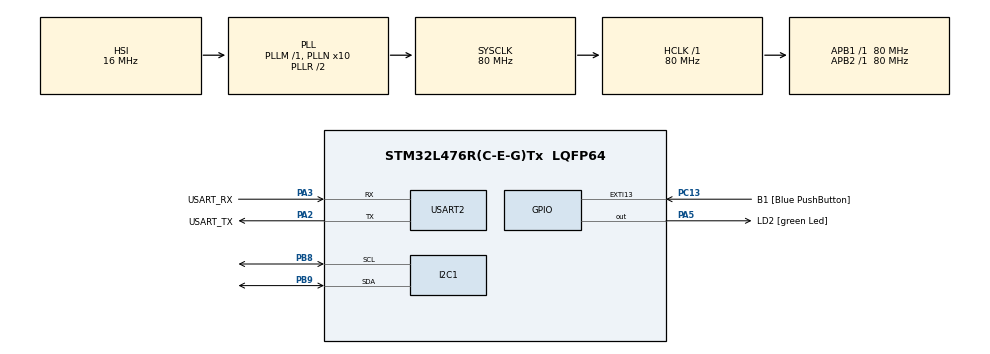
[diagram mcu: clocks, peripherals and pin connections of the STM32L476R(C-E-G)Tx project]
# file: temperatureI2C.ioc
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I2C1.Timing=0x10D19CE4
Mcu.Family=STM32L4
Mcu.Name=STM32L476R(C-E-G)Tx
Mcu.Package=LQFP64
NVIC.PriorityGroup=NVIC_PRIORITYGROUP_4
PA13\ (JTMS-SWDIO).GPIO_Label=TMS
PA13\ (JTMS-SWDIO).Signal=SYS_JTMS-SWDIO
PA14\ (JTCK-SWCLK).GPIO_Label=TCK
PA14\ (JTCK-SWCLK).Signal=SYS_JTCK-SWCLK
PA2.GPIO_Label=USART_TX
PA2.GPIO_Mode=GPIO_MODE_AF_PP
PA2.GPIO_PuPd=GPIO_NOPULL
PA2.GPIO_Speed=GPIO_SPEED_FREQ_VERY_HIGH
PA2.Mode=Asynchronous
PA2.Signal=USART2_TX
PA3.GPIO_Label=USART_RX
PA3.GPIO_Mode=GPIO_MODE_AF_PP
PA3.GPIO_PuPd=GPIO_NOPULL
PA3.GPIO_Speed=GPIO_SPEED_FREQ_VERY_HIGH
PA3.Mode=Asynchronous
PA3.Signal=USART2_RX
PA5.GPIO_Label=LD2 [green Led]
PA5.GPIO_ModeDefaultOutputPP=GPIO_MODE_OUTPUT_PP
PA5.GPIO_PuPd=GPIO_NOPULL
PA5.GPIO_Speed=GPIO_SPEED_FREQ_LOW
PA5.Signal=GPIO_Output
PB3\ (JTDO-TRACESWO).GPIO_Label=SWO
PB3\ (JTDO-TRACESWO).Signal=SYS_JTDO-SWO
PB8.Mode=I2C
PB8.Signal=I2C1_SCL
PB9.Mode=I2C
PB9.Signal=I2C1_SDA
PC13.GPIO_Label=B1 [Blue PushButton]
PC13.GPIO_ModeDefaultEXTI=GPIO_MODE_IT_FALLING
PC13.GPIO_PuPd=GPIO_NOPULL
PC13.Signal=GPXTI13
PC14-OSC32_IN\ (PC14).Signal=RCC_OSC32_IN
PC15-OSC32_OUT\ (PC15).Signal=RCC_OSC32_OUT
PH0-OSC_IN\ (PH0).Signal=RCC_OSC_IN
PH1-OSC_OUT\ (PH1).Signal=RCC_OSC_OUT
ProjectManager.HeapSize=0x200
ProjectManager.StackSize=0x400
ProjectManager.TargetToolchain=STM32CubeIDE
RCC.ADCFreq_Value=64000000
RCC.AHBFreq_Value=80000000
RCC.APB1Freq_Value=80000000
RCC.APB1TimFreq_Value=80000000
RCC.APB2Freq_Value=80000000
RCC.APB2TimFreq_Value=80000000
RCC.CortexFreq_Value=80000000
RCC.HCLKFreq_Value=80000000
RCC.HSE_VALUE=8000000
RCC.HSI_VALUE=16000000
RCC.LSE_VALUE=32768
RCC.MSI_VALUE=4000000
RCC.PLLN=10
RCC.PLLSourceVirtual=RCC_PLLSOURCE_HSI
RCC.PREFETCH_ENABLE=1
RCC.SYSCLKFreq_VALUE=80000000
RCC.SYSCLKSource=RCC_SYSCLKSOURCE_PLLCLK
RCC.USBFreq_Value=64000000
RCC.VCOOutputFreq_Value=160000000
USART2.VirtualMode-Asynchronous=VM_ASYNC
board=NUCLEO-L476RG

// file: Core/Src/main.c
/* USER CODE BEGIN Header */
/**
  ******************************************************************************
  * @file           : main.c
  * @brief          : Main program body
  ******************************************************************************
  * @attention
  *
  * Copyright (c) 2026 STMicroelectronics.
  * All rights reserved.
  *
  * This software is licensed under terms that can be found in the LICENSE file
  * in the root directory of this software component.
  * If no LICENSE file comes with this software, it is provided AS-IS.
  *
  ******************************************************************************
  */
/* USER CODE END Header */
#include "main.h"

/* USER CODE BEGIN Includes */
#include <string.h>
#include <stdio.h>
/* USER CODE END Includes */

I2C_HandleTypeDef hi2c1;

UART_HandleTypeDef huart2;

/* USER CODE BEGIN PV */
static const uint8_t TMP102_ADDR = 0x48 << 1; // Use 8-bit address
static const uint8_t REG_TEMP = 0x00;
/* USER CODE END PV */

void SystemClock_Config(void);
static void MX_GPIO_Init(void);
static void MX_I2C1_Init(void);
static void MX_USART2_UART_Init(void);

int main(void)
{

  /* USER CODE BEGIN 1 */
	HAL_StatusTypeDef ret; 	// to hold communication errors if such occur
	uint8_t buf[12]; 			// to hold the character string for UART communication or the bytes from the TMP102 chip
	int16_t val; 				// to hold raw value from the TMP102 chip
	float temp_c;

  /* USER CODE END 1 */

  /* MCU Configuration--------------------------------------------------------*/

  /* Reset of all peripherals, Initializes the Flash interface and the Systick. */
  HAL_Init();

  /* Configure the system clock */
  SystemClock_Config();

  /* Initialize all configured peripherals */
  MX_GPIO_Init();
  MX_I2C1_Init();
  MX_USART2_UART_Init();

  /* Infinite loop */
  /* USER CODE BEGIN WHILE */
  while (1)
  {
	  // Tell TMP102 that we want to read from the temperature register
	  	    buf[0] = REG_TEMP;
	  	    ret = HAL_I2C_Master_Transmit(&hi2c1, TMP102_ADDR, buf, 1, 200);
	  	    if ( ret != HAL_OK ) {
	  	      strcpy((char*)buf, "Error Tx\r\n");
	  	    } else {

	  	      // Read 2 bytes from the temperature register
	  	      ret = HAL_I2C_Master_Receive(&hi2c1, TMP102_ADDR, buf, 2, 200);
	  	      if ( ret != HAL_OK ) {
	  	        strcpy((char*)buf, "Error Rx\r\n");
	  	      } else {

	  	        //Combine the bytes
	  	        val = ((int16_t)buf[0] << 4) | (buf[1] >> 4);

	  	        // Convert to 2's complement, since temperature can be negative
	  	        if ( val > 0x7FF ) {
	  	          val |= 0xF000;
	  	        }

	  	        // Convert to float temperature value (Celsius)
	  	        temp_c = val * 0.0625;

	  	        // Convert temperature to decimal format
	  	        temp_c *= 100;
	  	        sprintf((char*)buf,
	  	              "%u.%u C\r\n",
	  	              ((unsigned int)temp_c / 100),
	  	              ((unsigned int)temp_c % 100));
	  	      }
	  	    }

	  	    // Send out buffer (temperature or error message)
	  	    HAL_UART_Transmit(&huart2, buf, strlen((char*)buf), HAL_MAX_DELAY);

	  	    // Wait
	  	    HAL_Delay(500);
    /* USER CODE END WHILE */

  }
}

void SystemClock_Config(void)
{
  RCC_OscInitTypeDef RCC_OscInitStruct = {0};
  RCC_ClkInitTypeDef RCC_ClkInitStruct = {0};

  /** Configure the main internal regulator output voltage
  */
  if (HAL_PWREx_ControlVoltageScaling(PWR_REGULATOR_VOLTAGE_SCALE1) != HAL_OK)
  {
    Error_Handler();
  }

  /** Initializes the RCC Oscillators according to the specified parameters
  * in the RCC_OscInitTypeDef structure.
  */
  RCC_OscInitStruct.OscillatorType = RCC_OSCILLATORTYPE_HSI;
  RCC_OscInitStruct.HSIState = RCC_HSI_ON;
  RCC_OscInitStruct.HSICalibrationValue = RCC_HSICALIBRATION_DEFAULT;
  RCC_OscInitStruct.PLL.PLLState = RCC_PLL_ON;
  RCC_OscInitStruct.PLL.PLLSource = RCC_PLLSOURCE_HSI;
  RCC_OscInitStruct.PLL.PLLM = 1;
  RCC_OscInitStruct.PLL.PLLN = 10;
  RCC_OscInitStruct.PLL.PLLP = RCC_PLLP_DIV7;
  RCC_OscInitStruct.PLL.PLLQ = RCC_PLLQ_DIV2;
  RCC_OscInitStruct.PLL.PLLR = RCC_PLLR_DIV2;
  if (HAL_RCC_OscConfig(&RCC_OscInitStruct) != HAL_OK)
  {
    Error_Handler();
  }

  /** Initializes the CPU, AHB and APB buses clocks
  */
  RCC_ClkInitStruct.ClockType = RCC_CLOCKTYPE_HCLK|RCC_CLOCKTYPE_SYSCLK
                              |RCC_CLOCKTYPE_PCLK1|RCC_CLOCKTYPE_PCLK2;
  RCC_ClkInitStruct.SYSCLKSource = RCC_SYSCLKSOURCE_PLLCLK;
  RCC_ClkInitStruct.AHBCLKDivider = RCC_SYSCLK_DIV1;
  RCC_ClkInitStruct.APB1CLKDivider = RCC_HCLK_DIV1;
  RCC_ClkInitStruct.APB2CLKDivider = RCC_HCLK_DIV1;

  if (HAL_RCC_ClockConfig(&RCC_ClkInitStruct, FLASH_LATENCY_4) != HAL_OK)
  {
    Error_Handler();
  }
}

static void MX_I2C1_Init(void)
{

  hi2c1.Instance = I2C1;
  hi2c1.Init.Timing = 0x10D19CE4;
  hi2c1.Init.OwnAddress1 = 0;
  hi2c1.Init.AddressingMode = I2C_ADDRESSINGMODE_7BIT;
  hi2c1.Init.DualAddressMode = I2C_DUALADDRESS_DISABLE;
  hi2c1.Init.OwnAddress2 = 0;
  hi2c1.Init.OwnAddress2Masks = I2C_OA2_NOMASK;
  hi2c1.Init.GeneralCallMode = I2C_GENERALCALL_DISABLE;
  hi2c1.Init.NoStretchMode = I2C_NOSTRETCH_DISABLE;
  if (HAL_I2C_Init(&hi2c1) != HAL_OK)
  {
    Error_Handler();
  }

  /** Configure Analogue filter
  */
  if (HAL_I2CEx_ConfigAnalogFilter(&hi2c1, I2C_ANALOGFILTER_ENABLE) != HAL_OK)
  {
    Error_Handler();
  }

  /** Configure Digital filter
  */
  if (HAL_I2CEx_ConfigDigitalFilter(&hi2c1, 0) != HAL_OK)
  {
    Error_Handler();
  }

}

static void MX_USART2_UART_Init(void)
{

  huart2.Instance = USART2;
  huart2.Init.BaudRate = 115200;
  huart2.Init.WordLength = UART_WORDLENGTH_8B;
  huart2.Init.StopBits = UART_STOPBITS_1;
  huart2.Init.Parity = UART_PARITY_NONE;
  huart2.Init.Mode = UART_MODE_TX_RX;
  huart2.Init.HwFlowCtl = UART_HWCONTROL_NONE;
  huart2.Init.OverSampling = UART_OVERSAMPLING_16;
  huart2.Init.OneBitSampling = UART_ONE_BIT_SAMPLE_DISABLE;
  huart2.AdvancedInit.AdvFeatureInit = UART_ADVFEATURE_NO_INIT;
  if (HAL_UART_Init(&huart2) != HAL_OK)
  {
    Error_Handler();
  }

}

static void MX_GPIO_Init(void)
{
  GPIO_InitTypeDef GPIO_InitStruct = {0};

  /* GPIO Ports Clock Enable */
  __HAL_RCC_GPIOC_CLK_ENABLE();
  __HAL_RCC_GPIOH_CLK_ENABLE();
  __HAL_RCC_GPIOA_CLK_ENABLE();
  __HAL_RCC_GPIOB_CLK_ENABLE();

  /*Configure GPIO pin Output Level */
  HAL_GPIO_WritePin(LD2_GPIO_Port, LD2_Pin, GPIO_PIN_RESET);

  /*Configure GPIO pin : B1_Pin */
  GPIO_InitStruct.Pin = B1_Pin;
  GPIO_InitStruct.Mode = GPIO_MODE_IT_FALLING;
  GPIO_InitStruct.Pull = GPIO_NOPULL;
  HAL_GPIO_Init(B1_GPIO_Port, &GPIO_InitStruct);

  /*Configure GPIO pin : LD2_Pin */
  GPIO_InitStruct.Pin = LD2_Pin;
  GPIO_InitStruct.Mode = GPIO_MODE_OUTPUT_PP;
  GPIO_InitStruct.Pull = GPIO_NOPULL;
  GPIO_InitStruct.Speed = GPIO_SPEED_FREQ_LOW;
  HAL_GPIO_Init(LD2_GPIO_Port, &GPIO_InitStruct);

}

void Error_Handler(void)
{
  __disable_irq();
  while (1)
  {
  }
}
